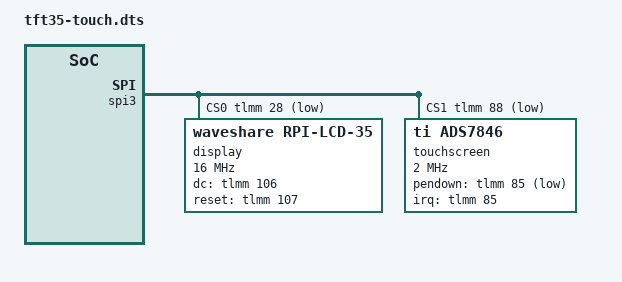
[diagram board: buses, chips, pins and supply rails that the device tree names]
// Joy-IT RB-TFT3.5 on the Arduino VENTUNO Q 40-pin JHAT header.
// Display: kernel ili9486 driver. Touch: kernel ads7846 driver (a normal Linux input device).
// The touch interrupt is JHAT pin 11 = SoC GPIO 85, which the board also uses as the Bluetooth
// UART's flow-control line, so Bluetooth will not work with this variant.
/dts-v1/;
/plugin/;

&spi3 {
	#address-cells = <1>;
	#size-cells = <0>;
	pinctrl-0 = <&qup_spi3_data_clk>, <&qup_spi3_cs_gpio>;
	cs-gpios = <&tlmm 28 1>, <&tlmm 88 1>;	/* JHAT 24 (LCD_CS), JHAT 26 (TP_CS), active low */

	display@0 {
		/* only this name: "ilitek,ili9486" would also match the staging fbtft driver */
		compatible = "waveshare,rpi-lcd-35";
		reg = <0>;
		spi-max-frequency = <16000000>;
		rotation = <0>;
		dc-gpios = <&tlmm 106 0>;	/* JHAT 18 */
		reset-gpios = <&tlmm 107 0>;	/* JHAT 22 */
	};

	touchscreen@1 {
		compatible = "ti,ads7846";
		reg = <1>;
		spi-max-frequency = <2000000>;
		interrupts-extended = <&tlmm 85 2>;	/* falling edge */
		pendown-gpio = <&tlmm 85 1>;		/* active low */
		ti,x-plate-ohms = /bits/ 16 <60>;
		ti,pressure-max = /bits/ 16 <255>;
	};
};
